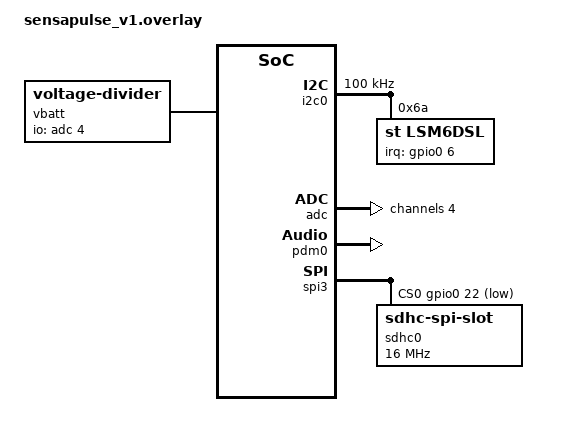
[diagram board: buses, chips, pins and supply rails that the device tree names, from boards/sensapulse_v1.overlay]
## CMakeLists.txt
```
# SPDX-License-Identifier: Apache-2.0
cmake_minimum_required(VERSION 3.20.0)

# Tell Zephyr where to find our custom out-of-tree board
list(APPEND BOARD_ROOT ${CMAKE_CURRENT_LIST_DIR}/..)

find_package(Zephyr REQUIRED HINTS $ENV{ZEPHYR_BASE})
project(sensapulse_fw LANGUAGES C)

target_sources(app PRIVATE
	src/main.c
	src/led.c
	src/battery.c
	src/imu.c
	src/imu_sampler.c
	src/audio.c
	src/sd_log.c
	src/sd_writer.c
	src/session.c
	src/device_id.c
	src/ble_sync.c
)

target_include_directories(app PRIVATE src)

# Embed git short SHA into firmware as FW_BUILD_HASH (used in meta.json).
# Falls back to "unknown" if not in a git checkout.
execute_process(
	COMMAND git rev-parse --short HEAD
	WORKING_DIRECTORY ${CMAKE_CURRENT_LIST_DIR}/..
	OUTPUT_VARIABLE FW_GIT_HASH
	OUTPUT_STRIP_TRAILING_WHITESPACE
	ERROR_QUIET
)
if(NOT FW_GIT_HASH)
	set(FW_GIT_HASH "unknown")
endif()
target_compile_definitions(app PRIVATE FW_BUILD_HASH="${FW_GIT_HASH}")
```

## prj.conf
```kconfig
# SensaPulse v1.0 — application Kconfig
# Phase 6: bring-up + BLE smoke advertise.

CONFIG_GPIO=y
CONFIG_I2C=y
CONFIG_ADC=y
CONFIG_MAIN_STACK_SIZE=4096

# SPI + SD card + filesystem
CONFIG_SPI=y
CONFIG_DISK_DRIVER_SDMMC=y
CONFIG_DISK_DRIVERS=y
CONFIG_FILE_SYSTEM=y
CONFIG_FAT_FILESYSTEM_ELM=y
CONFIG_FS_FATFS_LFN=y
CONFIG_FS_FATFS_LFN_MODE_HEAP=y
CONFIG_FS_FATFS_MAX_LFN=64

# PDM digital MEMS mic stack
CONFIG_AUDIO=y
CONFIG_AUDIO_DMIC=y

# Bluetooth Low Energy (peripheral — Sync Service GATT in #19)
CONFIG_BT=y
CONFIG_BT_PERIPHERAL=y
CONFIG_BT_DEVICE_NAME="SensaPulse v1"
# 833 = Generic Health Sensor appearance
CONFIG_BT_DEVICE_APPEARANCE=833
# Use SoftDevice controller (NCS default for nRF52840)
CONFIG_BT_LL_SOFTDEVICE=y

# #19 high-throughput GATT bulk transfer
CONFIG_BT_CTLR_PHY_2M=y
CONFIG_BT_USER_PHY_UPDATE=y
CONFIG_BT_USER_DATA_LEN_UPDATE=y
CONFIG_BT_BUF_ACL_RX_SIZE=251
CONFIG_BT_BUF_ACL_TX_SIZE=251
CONFIG_BT_L2CAP_TX_MTU=247
# #34 diagnostic: macOS Core Bluetooth may not parse BT 5.2 multi-notify PDUs;
# disable so Zephyr falls back to single-notify per bt_gatt_notify call.
CONFIG_BT_GATT_NOTIFY_MULTIPLE=n
# #19.5 TX buffer count — defaults ~3 không đủ cho streaming, gây
# "bt_att: Unable to allocate buffer for op 0x1b" suốt READ. Bump để
# read_chunk_cb retry không phải chờ lâu.
CONFIG_BT_BUF_ACL_TX_COUNT=32
CONFIG_BT_L2CAP_TX_BUF_COUNT=32

# #34 DLE diagnostic kept off in production. Use these to enable HCI DBG
# traces when re-investigating Apple DLE behaviour:
#   CONFIG_BT_HCI_CORE_LOG_LEVEL_DBG=y
#   CONFIG_BT_CONN_LOG_LEVEL_DBG=y

# #34 L2CAP CoC for high-throughput bulk Data transfer.
# macOS Core Bluetooth caps GATT-notify throughput around 14 kB/s (DLE
# refused, ~8 packets per event); CoC has its own credit-based flow and
# is reported to break that ceiling on macOS.
CONFIG_BT_L2CAP_DYNAMIC_CHANNEL=y
# CONFIG_BT_L2CAP_DYNAMIC_CHANNEL depends on BT_SMP. Enable security manager.
CONFIG_BT_SMP=y

# Logging via Segger RTT
CONFIG_LOG=y
CONFIG_LOG_DEFAULT_LEVEL=3
CONFIG_USE_SEGGER_RTT=y
CONFIG_LOG_BACKEND_RTT=y
CONFIG_LOG_BACKEND_UART=n
CONFIG_SEGGER_RTT_BUFFER_SIZE_UP=4096

# Heap for FATFS LFN + DMIC mem slab + BT
CONFIG_HEAP_MEM_POOL_SIZE=16384
```

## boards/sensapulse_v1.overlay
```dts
/*
 * App-level overlay for sensapulse_v1/nrf52840.
 * Auto-applied by Zephyr build for this board target.
 *
 * Adds peripherals as we bring each one up. Add new sections below;
 * don't pollute the board DTS.
 */

/* ---------- Task #4: I2C0 + LSM6DSL IMU ---------- */
&i2c0 {
	compatible = "nordic,nrf-twim";
	status = "okay";
	pinctrl-0 = <&i2c0_default>;
	pinctrl-1 = <&i2c0_sleep>;
	pinctrl-names = "default", "sleep";
	clock-frequency = <I2C_BITRATE_STANDARD>;  /* 100 kHz — safe with internal pull-ups */

	lsm6dsl: lsm6dsl@6a {
		compatible = "st,lsm6dsl";
		reg = <0x6a>;            /* SDO/SA0=GND → 0x6A */
		/* LSM6DSL INT1 default = push-pull active HIGH (CTRL3_C.H_LACTIVE=0). */
		irq-gpios = <&gpio0 6 GPIO_ACTIVE_HIGH>;
	};
};

/* ---------- Task #7: SAADC battery monitor on AIN4 (P0.28) ---------- */
/*
 * VBATT --[100k R12]--+--[100k R15]-- GND  (1:2 divider)
 *                     |
 *                     +--> AIN4 (P0.28)
 * To get VBATT: read AIN4_mV, multiply by 2.
 */
/ {
	vbatt: vbatt {
		compatible = "voltage-divider";
		io-channels = <&adc 4>;
		output-ohms = <100000>;
		full-ohms  = <200000>;
	};
};

&adc {
	status = "okay";
	#address-cells = <1>;
	#size-cells    = <0>;

	channel@4 {
		reg = <4>;
		zephyr,gain              = "ADC_GAIN_1_6";
		zephyr,reference         = "ADC_REF_INTERNAL";   /* 0.6 V */
		zephyr,acquisition-time  = <ADC_ACQ_TIME(ADC_ACQ_TIME_MICROSECONDS, 40)>;
		zephyr,input-positive    = <NRF_SAADC_AIN4>;     /* AIN4 = P0.28 */
		zephyr,resolution        = <12>;
	};
};

/* ---------- Task #6: PDM stereo (body=L falling, ambient=R rising) ---------- */
&pdm0 {
	status = "okay";
	pinctrl-0 = <&pdm0_default>;
	pinctrl-names = "default";
	clock-source = "PCLK32M_HFXO";  /* HFXO-derived for low-jitter audio */
};

/* ---------- Task #5: SPI3 + micro-SD via SDHC SPI slot ---------- */
&spi3 {
	compatible = "nordic,nrf-spim";
	status = "okay";
	pinctrl-0 = <&spi3_default>;
	pinctrl-1 = <&spi3_sleep>;
	pinctrl-names = "default", "sleep";
	cs-gpios = <&gpio0 22 GPIO_ACTIVE_LOW>;

	sdhc0: sdhc@0 {
		compatible = "zephyr,sdhc-spi-slot";
		reg = <0>;
		status = "okay";
		/* nRF52840 SPIM3 supports only the discrete clocks 8/16/32 MHz
		 * (HFCLK 32 MHz, integer dividers). Zephyr's nrfx_spim driver
		 * rounds DOWN any requested frequency that isn't an exact match
		 * (see `get_nrf_spim_frequency` in spi_nrfx_spim.c). Request 24M
		 * → actual SPI clock is **16 MHz**, not 24 MHz. The FATFS log
		 * line "Maximum SD clock is under 25MHz, using clock of
		 * 24000000Hz" reports the SD layer's ceiling, not the wire rate.
		 *
		 * Setting the request to 16 MHz here so the configuration value
		 * matches the actual bus speed and nobody mis-reads it later.
		 *
		 * History: occasional `sdhc_spi: Bad data CRC` events show up at
		 * this speed (a few per minute on the bench) — SD-layer retry
		 * absorbs them. Tried 8 MHz earlier (pre-#25) and audio broke
		 * because direct per-block fs_write stalled FATFS past the PDM
		 * mem-slab window. After #25 batched sd_writer, 8 MHz is safe
		 * too — keep 16 MHz unless we get fresh evidence the module
		 * (Ebyte E73-2G4M08S1C) needs a slower bus.
		 */
		spi-max-frequency = <16000000>;

		mmc {
			compatible = "zephyr,sdmmc-disk";
			status = "okay";
			/* Note: disk name is hardcoded to "SD" by the
			 * sdmmc-disk driver in Zephyr 3.7 / NCS v2.9 —
			 * no `disk-name` property accepted.
			 */
		};
	};
};
```

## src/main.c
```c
/*
 * SensaPulse v1.0 firmware — main entry.
 *
 * Task #14: real application FSM.
 *
 *   APP_STATE_IDLE              — waiting for double-tap. LED idle blink.
 *   APP_STATE_RECORDING         — session running. LED solid.
 *                                 Battery polled every 30 s; <3300 mV →
 *                                 stop session, LOW_BATT_HOLDOFF.
 *                                 Watchdog abort → ERROR.
 *   APP_STATE_LOW_BATT_HOLDOFF  — taps ignored, LED 5 Hz. Recovers to
 *                                 IDLE when battery climbs back ≥3500 mV
 *                                 (200 mV hysteresis).
 *   APP_STATE_ERROR             — LED SOS Morse. SD full or watchdog
 *                                 abort. Permanent until reboot.
 */

#include <zephyr/kernel.h>
#include <zephyr/logging/log.h>
#include <zephyr/bluetooth/bluetooth.h>
#include <zephyr/bluetooth/conn.h>
#include <zephyr/bluetooth/gap.h>

#include "led.h"
#include "battery.h"
#include "device_id.h"
#include "imu.h"
#include "imu_sampler.h"
#include "audio.h"
#include "sd_log.h"
#include "sd_writer.h"
#include "session.h"
#include "ble_sync.h"

LOG_MODULE_REGISTER(main, LOG_LEVEL_INF);

#define SMOKE_WAV_PATH    SD_MOUNT_POINT "/PDM_TEST.WAV"
#define SMOKE_RECORD_S    3

#define BATT_LOW_MV       3300   /* spec: stop recording below this */
#define BATT_RECOVERY_MV  3500   /* hysteresis to leave LOW_BATT_HOLDOFF */
#define MAIN_TICK_MS      500
#define BATT_POLL_TICKS   (30 * 1000 / MAIN_TICK_MS)   /* 60 ticks = 30 s */

/* ---------- App FSM ---------- */
typedef enum {
	APP_STATE_IDLE,
	APP_STATE_RECORDING,
	APP_STATE_LOW_BATT_HOLDOFF,
	APP_STATE_SYNC,                  /* #20: BLE-connected, draining data */
	APP_STATE_ERROR,
} app_state_t;

static app_state_t app_state = APP_STATE_IDLE;

/* v1.1.2: explicit ownership for the current recording session. Drives the
 * "start by X → stop by X" symmetry: a tap-started session can only be
 * stopped by tap; a BLE-started session can only be stopped by BLE STOP
 * opcode. Replaces the bool `recording_via_ble` (v1.1.1). Reset to NONE
 * any time the FSM leaves RECORDING. */
typedef enum {
	REC_OWNER_NONE,
	REC_OWNER_TAP,
	REC_OWNER_BLE,
} rec_owner_t;
static rec_owner_t rec_owner = REC_OWNER_NONE;

static const char *rec_owner_name(rec_owner_t o)
{
	switch (o) {
	case REC_OWNER_NONE: return "none";
	case REC_OWNER_TAP:  return "tap";
	case REC_OWNER_BLE:  return "ble";
	}
	return "?";
}

/* Exposed to ble_sync.c for opcode dispatch (BUSY-if-recording check). */
bool app_is_recording(void)
{
	return app_state == APP_STATE_RECORDING;
}

/* #20: state lúc trước khi vào SYNC — restore khi BLE disconnect. Cho phép
 * `ERROR → SYNC → ERROR` (user vớt data từ thẻ SD đầy mà không clear lỗi). */
static app_state_t pre_sync_state = APP_STATE_IDLE;
static unsigned    batt_tick = 0;

static const led_state_t state_to_led[] = {
	[APP_STATE_IDLE]              = LED_STATE_IDLE,
	[APP_STATE_RECORDING]         = LED_STATE_RECORDING,
	[APP_STATE_LOW_BATT_HOLDOFF]  = LED_STATE_LOW_BATT,
	[APP_STATE_SYNC]              = LED_STATE_SYNC,
	[APP_STATE_ERROR]             = LED_STATE_ERROR,
};

static const char *state_name(app_state_t s)
{
	switch (s) {
	case APP_STATE_IDLE:             return "IDLE";
	case APP_STATE_RECORDING:        return "RECORDING";
	case APP_STATE_LOW_BATT_HOLDOFF: return "LOW_BATT_HOLDOFF";
	case APP_STATE_SYNC:             return "SYNC";
	case APP_STATE_ERROR:            return "ERROR";
	}
	return "?";
}

/* #19.2: lower-case state name cho Device Info JSON (theo SYNC_PROTOCOL.md). */
const char *app_state_lc(void)
{
	switch (app_state) {
	case APP_STATE_IDLE:             return "idle";
	case APP_STATE_RECORDING:        return "recording";
	case APP_STATE_LOW_BATT_HOLDOFF: return "low_batt";
	case APP_STATE_SYNC:             return "sync";
	case APP_STATE_ERROR:            return "error";
	}
	return "unknown";
}

/* Forward declarations for BLE radio control. */
static void ble_adv_start(void);
static void ble_adv_stop(void);

static void transition(app_state_t new_state)
{
	if (new_state == app_state) return;
	LOG_INF("FSM: %s → %s", state_name(app_state), state_name(new_state));

	/* v1.1.2: BLE advertising runs continuously, independent of FSM.
	 * Started once in start_ble(); restarted in on_disconnected().
	 * RECORDING no longer tears down the advertiser — PC must be able
	 * to briefly connect during RECORDING to send OP_STOP_RECORD (owner
	 * BLE) or get BUSY (owner TAP). Persistent connection during
	 * RECORDING is still forbidden — enforced via opcode self-disconnect
	 * in ble_sync.c. */
	app_state = new_state;
	led_set_state(state_to_led[new_state]);
	batt_tick = 0;
}

/* ---------- BLE advertise + connect/disconnect FSM hook (#20) ---------- */
static const struct bt_data adv_data[] = {
	BT_DATA_BYTES(BT_DATA_FLAGS, (BT_LE_AD_GENERAL | BT_LE_AD_NO_BREDR)),
	BT_DATA(BT_DATA_NAME_COMPLETE, CONFIG_BT_DEVICE_NAME,
		sizeof(CONFIG_BT_DEVICE_NAME) - 1),
};
static bool ble_advertising;

static void ble_adv_start(void)
{
	if (ble_advertising) return;
	int err = bt_le_adv_start(BT_LE_ADV_CONN, adv_data, ARRAY_SIZE(adv_data),
				  NULL, 0);
	if (err) {
		LOG_ERR("bt_le_adv_start: %d", err);
		return;
	}
	ble_advertising = true;
	LOG_INF("BLE: advertising as '%s'", CONFIG_BT_DEVICE_NAME);
}

static void ble_adv_stop(void)
{
	if (!ble_advertising) return;
	int err = bt_le_adv_stop();
	if (err) LOG_WRN("bt_le_adv_stop: %d", err);
	ble_advertising = false;
	LOG_INF("BLE: advertising stopped");
}

static void on_connected(struct bt_conn *conn, uint8_t err)
{
	if (err) {
		LOG_ERR("BLE connect failed: 0x%02x", err);
		return;
	}
	LOG_INF("BLE connected (current FSM=%s)", state_name(app_state));

	/* Connectable advertising auto-stops at the BLE controller side when a
	 * connection completes. Reflect that in our local flag. */
	ble_advertising = false;

	/* v1.1.2: gate state-transition by current FSM.
	 * - IDLE / LOW_BATT_HOLDOFF / ERROR → SYNC (allow draining data).
	 * - RECORDING → accept connection, NO FSM transition. Stay in
	 *   RECORDING. The opcode handler in ble_sync.c will reply BUSY
	 *   (owner=TAP) or process OP_STOP_RECORD (owner=BLE) and then
	 *   queue a self-disconnect to release the link quickly.
	 * - SYNC → impossible (controller stops adv automatically while
	 *   already connected; defense in depth).
	 */
	switch (app_state) {
	case APP_STATE_RECORDING:
		LOG_INF("BLE: accept brief connect during RECORDING (owner=%s)",
			rec_owner_name(rec_owner));
		return;
	case APP_STATE_SYNC:
		LOG_WRN("BLE: unexpected connect while already in SYNC");
		bt_conn_disconnect(conn, BT_HCI_ERR_REMOTE_USER_TERM_CONN);
		return;
	case APP_STATE_IDLE:
	case APP_STATE_LOW_BATT_HOLDOFF:
	case APP_STATE_ERROR:
		pre_sync_state = app_state;
		transition(APP_STATE_SYNC);
		return;
	}
}

static void on_disconnected(struct bt_conn *conn, uint8_t reason)
{
	ARG_UNUSED(conn);
	LOG_INF("BLE disconnected (reason 0x%02x, FSM=%s, owner=%s)",
		reason, state_name(app_state), rec_owner_name(rec_owner));

	/* v1.1.2: disconnect mid-RECORDING is NOT an implicit stop. Session
	 * keeps running; the only ways to stop are (a) PC reconnect + send
	 * OP_STOP_RECORD (owner BLE), (b) double-tap (owner TAP), (c) batt
	 * < BATT_LOW_MV auto-stop in main loop, (d) SW1 power cut. This
	 * mirrors the "start-by-X = stop-by-X" symmetry and makes
	 * BLE-driven sessions robust to PC crash / sleep / Wi-Fi drop. */
	if (app_state == APP_STATE_SYNC) {
		transition(pre_sync_state);
	}
	/* Advertising auto-stopped at controller when the connection
	 * completed. Restart it so the next connection is possible
	 * regardless of current FSM state (per v1.1.2 always-adv policy). */
	ble_adv_start();
}

BT_CONN_CB_DEFINE(conn_cb) = {
	.connected = on_connected,
	.disconnected = on_disconnected,
};

static int start_ble(void)
{
	int err = bt_enable(NULL);
	if (err) { LOG_ERR("bt_enable: %d", err); return err; }
	ble_sync_init();
	ble_adv_start();
	return 0;
}

/* ---------- BLE START/STOP RECORD opcode handlers ---------- */
/* v1.1.2: BLE START_RECORD. Valid only when the device was IDLE before
 * the PC connected (pre_sync_state==IDLE, current==SYNC). On success
 * sets rec_owner=BLE and transitions SYNC→RECORDING. Ble_sync.c will
 * issue a self-disconnect right after this returns so the link is not
 * held during the recording — radio stays in advertising-only mode.
 * Returns 0 OK, -EBUSY wrong state, -ENOSPC SD full, -EAGAIN low batt. */
int app_request_start_record_via_ble(void)
{
	if (app_state != APP_STATE_SYNC || pre_sync_state != APP_STATE_IDLE) {
		LOG_WRN("START_RECORD refused — state=%s pre=%s",
			state_name(app_state), state_name(pre_sync_state));
		return -EBUSY;
	}
	int batt_mv = battery_read_mv();
	if (batt_mv >= 0 && batt_mv < BATT_LOW_MV) {
		LOG_WRN("START_RECORD refused — batt %d mV < %d",
			batt_mv, BATT_LOW_MV);
		return -EAGAIN;
	}
	LOG_INF(">>> BLE START_RECORD — starting session");
	int ret = session_start(batt_mv);
	if (ret == SESSION_ERR_NO_SPACE) {
		LOG_ERR("session_start: SD full → ERROR");
		transition(APP_STATE_ERROR);
		return -ENOSPC;
	}
	if (ret) {
		LOG_ERR("session_start: %d (staying in SYNC)", ret);
		return ret;
	}
	rec_owner = REC_OWNER_BLE;
	transition(APP_STATE_RECORDING);
	return 0;
}

/* v1.1.2: BLE STOP_RECORD. Valid only when currently RECORDING with
 * owner==BLE. On success stops the session, clears owner, transitions
 * RECORDING→IDLE. Ble_sync.c will self-disconnect after this returns.
 * Rejects tap-owned sessions (wearer must stop those by double-tap).
 * Returns 0 OK, -EBUSY otherwise. */
int app_request_stop_record_via_ble(void)
{
	if (app_state != APP_STATE_RECORDING || rec_owner != REC_OWNER_BLE) {
		LOG_WRN("STOP_RECORD refused — state=%s owner=%s",
			state_name(app_state), rec_owner_name(rec_owner));
		return -EBUSY;
	}
	LOG_INF(">>> BLE STOP_RECORD — stopping session");
	session_stop();
	rec_owner = REC_OWNER_NONE;
	transition(APP_STATE_IDLE);
	return 0;
}

/* ---------- Double-tap callback (system work-queue context) ---------- */
static void on_double_tap(void)
{
	switch (app_state) {
	case APP_STATE_LOW_BATT_HOLDOFF:
	case APP_STATE_ERROR:
	case APP_STATE_SYNC:        /* SYNC ↔ RECORDING cấm; PC đang dùng link */
		LOG_INF("tap ignored in %s", state_name(app_state));
		return;

	case APP_STATE_RECORDING:
		/* v1.1.2: start-method = stop-method. BLE-owned record can
		 * only be stopped by OP_STOP_RECORD; tap-owned by tap. */
		if (rec_owner == REC_OWNER_BLE) {
			LOG_INF("tap ignored — BLE-controlled session, "
				"use OP_STOP_RECORD");
			return;
		}
		LOG_INF(">>> DOUBLE TAP — stopping session");
		session_stop();
		rec_owner = REC_OWNER_NONE;
		transition(APP_STATE_IDLE);
		return;

	case APP_STATE_IDLE: {
		int batt_mv = battery_read_mv();
		if (batt_mv >= 0 && batt_mv < BATT_LOW_MV) {
			LOG_WRN("tap: batt %d mV < %d, refusing → LOW_BATT_HOLDOFF",
				batt_mv, BATT_LOW_MV);
			transition(APP_STATE_LOW_BATT_HOLDOFF);
			return;
		}
		LOG_INF(">>> DOUBLE TAP — starting session");
		int ret = session_start(batt_mv);
		if (ret == SESSION_ERR_NO_SPACE) {
			LOG_ERR("session_start: SD full → ERROR");
			transition(APP_STATE_ERROR);
			return;
		}
		if (ret) {
			LOG_ERR("session_start: %d (staying in IDLE)", ret);
			return;
		}
		rec_owner = REC_OWNER_TAP;
		transition(APP_STATE_RECORDING);
		return;
	}
	}
}

/* ---------- main ---------- */
int main(void)
{
	LOG_INF("SensaPulse v1.0 — task #14 main FSM");
	LOG_INF("Build: %s %s", __DATE__, __TIME__);

	/* #31: settle delay before probing peripherals. The LDO + LSM6DSL +
	 * micro-SD all need ~25-50 ms after VDD ramp; without this margin the
	 * IMU sporadically reports WHO_AM_I=0xFF on cold boot (the bus reads
	 * before the chip finishes its POR sequence). Equivalent in spirit
	 * to the 100 ms settle that sdlog_init already does for SD (#26). */
	k_msleep(100);

	if (led_init() == 0)     LOG_INF("LED ready");

	int boot_batt_mv = -1;
	if (battery_init() == 0) {
		boot_batt_mv = battery_read_mv();
		if (boot_batt_mv >= 0) {
			LOG_INF("Battery: %d mV (%s)",
				boot_batt_mv, battery_state_str(boot_batt_mv));
		}
	}

	if (imu_init() != 0) {
		LOG_ERR("IMU init failed");
	}

	if (audio_init() == 0 && sdlog_init() == 0) {
		sdlog_append_boot_stamp();
		identity_init();
		int32_t pl, pr, ml, mr;
		if (audio_record_to_wav(SMOKE_WAV_PATH, SMOKE_RECORD_S,
					&pl, &pr, &ml, &mr) == 0) {
			LOG_INF("smoke ch0 (body, L)    peak=%d  mean=%d", pl, ml);
			LOG_INF("smoke ch1 (ambient, R) peak=%d  mean=%d", pr, mr);
		}
		/* #19.3: bring up the writer thread now so BLE handlers can
		 * route FATFS ops through it (Set Name, future LIST/READ/ACK/
		 * DEL/etc.). Thread stays alive cho đến shutdown.
		 */
		sd_writer_init();
		session_init();
	}

	/* Register the tap callback only after the SD subsystem and session
	 * counter are up — avoids a tap during boot calling session_start
	 * with the FATFS volume not yet mounted.
	 */
	imu_enable_double_tap(on_double_tap);

	start_ble();

	/* Pick initial state from battery reading. If we're already below the
	 * threshold at boot we go straight to LOW_BATT_HOLDOFF so the user
	 * gets an obvious 5 Hz blink instead of normal idle.
	 */
	if (boot_batt_mv >= 0 && boot_batt_mv < BATT_LOW_MV) {
		LOG_WRN("boot batt %d mV < %d → LOW_BATT_HOLDOFF",
			boot_batt_mv, BATT_LOW_MV);
		transition(APP_STATE_LOW_BATT_HOLDOFF);
	} else {
		led_set_state(LED_STATE_IDLE);
		LOG_INF("Idle. Double-tap to start/stop recording.");
	}

	while (1) {
		switch (app_state) {
		case APP_STATE_IDLE:
			/* Tap callback drives IDLE → RECORDING. Nothing to poll. */
			break;

		case APP_STATE_RECORDING:
			if (!session_is_active()) {
				if (session_was_aborted()) {
					LOG_ERR("FSM: session aborted by watchdog → ERROR");
					rec_owner = REC_OWNER_NONE;
					transition(APP_STATE_ERROR);
				} else {
					LOG_INF("Stopped: audio_last=%u B, imu_last=%u samples",
						sd_writer_audio_bytes_written(),
						sd_writer_imu_samples_written());
					rec_owner = REC_OWNER_NONE;
					transition(APP_STATE_IDLE);
				}
				break;
			}
			if (++batt_tick >= BATT_POLL_TICKS) {
				batt_tick = 0;
				int mv = battery_read_mv();
				if (mv >= 0 && mv < BATT_LOW_MV) {
					LOG_WRN("FSM: batt %d mV during RECORDING → "
						"stop session, LOW_BATT_HOLDOFF "
						"(was owner=%s)", mv,
						rec_owner_name(rec_owner));
					session_stop();
					rec_owner = REC_OWNER_NONE;
					transition(APP_STATE_LOW_BATT_HOLDOFF);
				}
			}
			break;

		case APP_STATE_LOW_BATT_HOLDOFF:
			if (++batt_tick >= BATT_POLL_TICKS) {
				batt_tick = 0;
				int mv = battery_read_mv();
				if (mv >= 0 && mv >= BATT_RECOVERY_MV) {
					LOG_INF("FSM: batt recovered %d mV → IDLE", mv);
					transition(APP_STATE_IDLE);
				}
			}
			break;

		case APP_STATE_SYNC:
			/* #20: passive — wait for BLE disconnect callback to
			 * restore pre_sync_state. No polling needed. */
			break;

		case APP_STATE_ERROR:
			/* Permanent until reboot. LED already SOS. */
			break;
		}
		k_msleep(MAIN_TICK_MS);
	}
	return 0;
}
```

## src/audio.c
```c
#include <zephyr/kernel.h>
#include <zephyr/audio/dmic.h>
#include <zephyr/fs/fs.h>
#include <zephyr/logging/log.h>
#include <string.h>

#include "audio.h"
#include "sd_writer.h"

LOG_MODULE_REGISTER(audio, LOG_LEVEL_INF);

#define PDM_NODE          DT_NODELABEL(pdm0)
#define PDM_BLOCK_MS      100
#define PDM_BLOCK_SAMPLES (AUDIO_PDM_RATE_HZ * PDM_BLOCK_MS / 1000)
#define PDM_BLOCK_BYTES   (PDM_BLOCK_SAMPLES * AUDIO_PDM_CHANNELS * sizeof(int16_t))
/* 16 blocks × 100 ms = ~1.6 s slack (#25). The slab pointer is the
 * audio FIFO entry handed to sd_writer; depth here directly sets the
 * audio queue depth visible to the consumer.
 */
#define PDM_BLOCK_COUNT   16

K_MEM_SLAB_DEFINE_STATIC(pdm_slab, PDM_BLOCK_BYTES, PDM_BLOCK_COUNT, 4);

static const struct device *const dmic_dev = DEVICE_DT_GET(PDM_NODE);

/* ---------- DMIC configure helper ---------- */
static int configure_dmic(void)
{
	struct pcm_stream_cfg stream = {
		.pcm_width = AUDIO_PDM_BIT_WIDTH,
		.mem_slab  = &pdm_slab,
	};
	struct dmic_cfg cfg = {
		.io = {
			.min_pdm_clk_freq = 1000000,
			.max_pdm_clk_freq = 3500000,
			.min_pdm_clk_dc   = 40,
			.max_pdm_clk_dc   = 60,
		},
		.streams = &stream,
		.channel = {
			.req_num_streams = 1,
			.req_num_chan    = AUDIO_PDM_CHANNELS,
			/* Channel mapping — body MUST land on ch0, ambient on ch1.
			 *
			 * The "natural" map below (ch0=LEFT, ch1=RIGHT) is the driver's
			 * def_map → NRF_PDM_EDGE_LEFTFALLING. Bench tap-test 2026-06-08
			 * proved that under LEFTFALLING the physical mics come out
			 * SWAPPED: tapping the body mic clipped ch1, tapping the ambient
			 * mic clipped ch0. Every v2 notebook assumed ch0=body and was
			 * therefore analysing the wrong channel.
			 *
			 * Fix: use the driver's alt_map (ch0=RIGHT, ch1=LEFT) →
			 * NRF_PDM_EDGE_LEFTRISING, which the driver documents as the
			 * L/R-swap. Re-verify with the tap test after any PDM change.
			 * NOTE: recordings made BEFORE this commit have swapped channels
			 * (ch0=ambient, ch1=body) — relabel them in analysis.
			 */
			.req_chan_map_lo =
				dmic_build_channel_map(0, 0, PDM_CHAN_RIGHT) |
				dmic_build_channel_map(1, 0, PDM_CHAN_LEFT),
		},
	};
	cfg.streams[0].pcm_rate   = AUDIO_PDM_RATE_HZ;
	cfg.streams[0].block_size = PDM_BLOCK_BYTES;
	return dmic_configure(dmic_dev, &cfg);
}

int audio_init(void)
{
	if (!device_is_ready(dmic_dev)) {
		LOG_ERR("PDM device not ready");
		return -ENODEV;
	}
	return 0;
}

/* ---------- One-shot capture (boot smoke test) ---------- */
static int write_wav_header_local(struct fs_file_t *f, uint32_t data_bytes)
{
	uint8_t hdr[44];
	uint32_t sr  = AUDIO_PDM_RATE_HZ;
	uint16_t ch  = AUDIO_PDM_CHANNELS;
	uint16_t bps = AUDIO_PDM_BIT_WIDTH;
	uint32_t br  = sr * ch * (uint32_t)bps / 8;
	uint16_t ba  = ch * bps / 8;
	uint32_t fsize = data_bytes + 36;
	uint32_t fmt_size = 16;
	uint16_t fmt = 1;

	memcpy(&hdr[0],  "RIFF",      4);
	memcpy(&hdr[4],  &fsize,      4);
	memcpy(&hdr[8],  "WAVE",      4);
	memcpy(&hdr[12], "fmt ",      4);
	memcpy(&hdr[16], &fmt_size,   4);
	memcpy(&hdr[20], &fmt,        2);
	memcpy(&hdr[22], &ch,         2);
	memcpy(&hdr[24], &sr,         4);
	memcpy(&hdr[28], &br,         4);
	memcpy(&hdr[32], &ba,         2);
	memcpy(&hdr[34], &bps,        2);
	memcpy(&hdr[36], "data",      4);
	memcpy(&hdr[40], &data_bytes, 4);

	fs_seek(f, 0, FS_SEEK_SET);
	return fs_write(f, hdr, sizeof(hdr));
}

int audio_record_to_wav(const char *path, int seconds,
			int32_t *peak_l, int32_t *peak_r,
			int32_t *mean_l, int32_t *mean_r)
{
	int ret = configure_dmic();
	if (ret < 0) {
		LOG_ERR("dmic_configure failed: %d", ret);
		return ret;
	}

	struct fs_file_t f;
	fs_file_t_init(&f);
	ret = fs_open(&f, path, FS_O_CREATE | FS_O_WRITE);
	if (ret) {
		LOG_ERR("open %s: %d", path, ret);
		return ret;
	}

	uint8_t pad[44] = {0};
	fs_write(&f, pad, sizeof(pad));

	LOG_INF("PDM start: %d s stereo @ %d kHz → %s",
		seconds, AUDIO_PDM_RATE_HZ / 1000, path);
	ret = dmic_trigger(dmic_dev, DMIC_TRIGGER_START);
	if (ret < 0) {
		LOG_ERR("dmic_trigger START failed: %d", ret);
		fs_close(&f);
		return ret;
	}

	const int blocks = seconds * 1000 / PDM_BLOCK_MS;
	uint32_t total_bytes = 0;
	int32_t pl = 0, pr = 0;
	int64_t sl = 0, sr = 0;
	uint32_t n_pairs = 0;

	for (int i = 0; i < blocks; i++) {
		void *buf;
		uint32_t size;

		ret = dmic_read(dmic_dev, 0, &buf, &size, 500);
		if (ret < 0) {
			LOG_ERR("dmic_read[%d] failed: %d", i, ret);
			break;
		}

		int16_t *s = (int16_t *)buf;
		uint32_t n = size / sizeof(int16_t);
		for (uint32_t k = 0; k < n; k += 2) {
			int16_t l = s[k];
			int16_t r = s[k + 1];
			int32_t al = l < 0 ? -l : l;
			int32_t ar = r < 0 ? -r : r;
			if (al > pl) pl = al;
			if (ar > pr) pr = ar;
			sl += l;
			sr += r;
		}
		n_pairs += n / 2;

		fs_write(&f, buf, size);
		total_bytes += size;
		k_mem_slab_free(&pdm_slab, buf);
	}

	dmic_trigger(dmic_dev, DMIC_TRIGGER_STOP);
	write_wav_header_local(&f, total_bytes);
	fs_close(&f);

	if (peak_l) *peak_l = pl;
	if (peak_r) *peak_r = pr;
	if (mean_l) *mean_l = n_pairs ? (int32_t)(sl / (int64_t)n_pairs) : 0;
	if (mean_r) *mean_r = n_pairs ? (int32_t)(sr / (int64_t)n_pairs) : 0;

	LOG_INF("PDM stop: %u B written, %u sample pairs", total_bytes, n_pairs);
	return 0;
}

/* ---------- Streaming producer (#25) ---------- */
#define PRODUCER_STACK_SZ  3072
#define PRODUCER_PRIO      K_PRIO_PREEMPT(5)

static K_THREAD_STACK_DEFINE(prod_stack, PRODUCER_STACK_SZ);
static struct k_thread prod_thread;
static atomic_t        prod_running = ATOMIC_INIT(0);
static atomic_t        prod_stop_req = ATOMIC_INIT(0);

static void producer_thread_fn(void *p1, void *p2, void *p3)
{
	ARG_UNUSED(p1); ARG_UNUSED(p2); ARG_UNUSED(p3);
	int ret;

	ret = configure_dmic();
	if (ret < 0) {
		LOG_ERR("audio producer: dmic_configure: %d", ret);
		atomic_clear(&prod_running);
		return;
	}
	ret = dmic_trigger(dmic_dev, DMIC_TRIGGER_START);
	if (ret < 0) {
		LOG_ERR("audio producer: dmic_trigger START: %d", ret);
		atomic_clear(&prod_running);
		return;
	}

	LOG_INF("audio producer: streaming PDM stereo @ %d Hz",
		AUDIO_PDM_RATE_HZ);

	uint32_t blocks = 0;
	while (!atomic_get(&prod_stop_req)) {
		void *buf;
		uint32_t size;
		ret = dmic_read(dmic_dev, 0, &buf, &size, 500);
		if (ret < 0) {
			LOG_ERR("audio producer: dmic_read failed at "
				"%u blocks: %d", blocks, ret);
			break;
		}

		/* Push slab pointer into sd_writer's queue. If full → drop:
		 * caller must free the slab itself.
		 */
		if (sd_writer_push_audio(buf) < 0) {
			k_mem_slab_free(&pdm_slab, buf);
		}
		blocks++;
	}

	dmic_trigger(dmic_dev, DMIC_TRIGGER_STOP);
	LOG_INF("audio producer: stopped after %u blocks", blocks);
	atomic_clear(&prod_running);
}

int audio_producer_start(void)
{
	if (atomic_get(&prod_running)) return -EALREADY;
	atomic_clear(&prod_stop_req);
	atomic_set(&prod_running, 1);

	k_tid_t tid = k_thread_create(&prod_thread, prod_stack,
				      K_THREAD_STACK_SIZEOF(prod_stack),
				      producer_thread_fn, NULL, NULL, NULL,
				      PRODUCER_PRIO, 0, K_NO_WAIT);
	k_thread_name_set(tid, "audio_prod");
	return 0;
}

int audio_producer_stop(void)
{
	if (!atomic_get(&prod_running)) return -ENOENT;
	atomic_set(&prod_stop_req, 1);
	return 0;
}

bool audio_producer_is_running(void)
{
	return atomic_get(&prod_running) != 0;
}

void audio_producer_release_slab(void *slab_buf)
{
	if (slab_buf) k_mem_slab_free(&pdm_slab, slab_buf);
}
```

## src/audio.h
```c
/*
 * SensaPulse — PDM stereo audio capture.
 *
 *  Channel mapping (per schematic + mic L/R config):
 *    ch0 = LEFT  = body mic    (MP23DB01HP, L/R=GND, falling edge)
 *    ch1 = RIGHT = ambient mic (IMP34DT05,  L/R=VDD, rising edge)
 *
 *  After #25 refactor: this module is a *producer*. It reads PDM blocks
 *  from the DMIC API and pushes the slab pointers into sd_writer's
 *  audio FIFO. It no longer touches FATFS directly. The actual
 *  audio.wav file is opened, written, finalized, and closed by
 *  sd_writer (single SD-writing thread).
 */
#pragma once

#include <stdint.h>
#include <stdbool.h>

#define AUDIO_PDM_RATE_HZ   16000
#define AUDIO_PDM_CHANNELS  2
#define AUDIO_PDM_BIT_WIDTH 16

int audio_init(void);

/* ---------- One-shot capture (boot smoke test, blocking) ---------- */
int audio_record_to_wav(const char *path, int seconds,
			int32_t *peak_l, int32_t *peak_r,
			int32_t *mean_l, int32_t *mean_r);

/* ---------- Streaming producer (#25) ----------
 *
 *   audio_producer_start()    → configure DMIC, trigger START, spawn the
 *                                producer thread. Returns 0 on success.
 *
 *   audio_producer_stop()     → request producer thread exit; the thread
 *                                sets DMIC STOP and exits its loop. Use
 *                                audio_producer_is_running() to wait.
 *
 *   audio_producer_release_slab(buf) → called by sd_writer after it has
 *                                consumed a PDM block. Returns the slab
 *                                buffer to the mem-slab so the DMIC
 *                                driver can reuse it. Producers don't
 *                                free; consumer does, after fs_write.
 */
int  audio_producer_start(void);
int  audio_producer_stop(void);
bool audio_producer_is_running(void);
void audio_producer_release_slab(void *slab_buf);
```

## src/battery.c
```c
#include <zephyr/drivers/adc.h>
#include <zephyr/logging/log.h>
#include "battery.h"

LOG_MODULE_REGISTER(battery, LOG_LEVEL_INF);

static const struct adc_dt_spec batt_adc =
	ADC_DT_SPEC_GET_BY_IDX(DT_NODELABEL(vbatt), 0);

int battery_init(void)
{
	if (!adc_is_ready_dt(&batt_adc)) {
		LOG_ERR("ADC not ready");
		return -ENODEV;
	}
	int ret = adc_channel_setup_dt(&batt_adc);
	if (ret < 0) {
		LOG_ERR("adc_channel_setup_dt failed: %d", ret);
	}
	return ret;
}

int battery_read_mv(void)
{
	int16_t raw = 0;
	struct adc_sequence seq = {
		.buffer = &raw,
		.buffer_size = sizeof(raw),
	};
	int ret = adc_sequence_init_dt(&batt_adc, &seq);
	if (ret < 0) return ret;

	ret = adc_read(batt_adc.dev, &seq);
	if (ret < 0) return ret;

	int32_t mv = raw;
	ret = adc_raw_to_millivolts_dt(&batt_adc, &mv);
	if (ret < 0) return ret;

	/* Voltage divider 100k/100k → ×2. */
	return (int)(mv * 2);
}

const char *battery_state_str(int mv)
{
	if (mv >= 4100) return "full";
	if (mv >= 3700) return "ok";
	if (mv >= 3500) return "low";
	if (mv >= 3300) return "warn";
	return "critical";
}
```

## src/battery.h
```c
/*
 * SensaPulse — Li-ion battery monitor.
 *
 * AIN4 (P0.28) reads VBATT divided 1:2 by R12/R15 (100K/100K).
 * Returned voltage is whole-battery mV (already scaled ×2).
 */
#pragma once

int         battery_init(void);
int         battery_read_mv(void);
const char *battery_state_str(int mv);
```

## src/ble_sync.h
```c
/*
 * SensaPulse — BLE Sync Service (task #19).
 *
 * Custom GATT service cho PC sync. Spec đầy đủ trong
 * `docs/SYNC_PROTOCOL.md`. Service UUID base
 * `7e7e0001-3c4f-4b8e-8a8a-5e5e5e5e5e5e`, 4 characteristic:
 *   0002 Device Info   — Read (JSON)
 *   0003 Control       — Write + Notify (opcode framing)
 *   0004 Data          — Notify only (bulk file stream)
 *   0005 Set Name      — Write (UTF-8 ≤32 byte)
 *
 * Module này CHỈ chịu trách nhiệm GATT layer. FSM transitions (IDLE ↔
 * SYNC) đã xử lý ở main.c qua `on_connected` / `on_disconnected` callbacks
 * của #20. File I/O cho LIST/READ/ACK/DEL phải route qua sd_writer thread
 * (giữ invariant single-FATFS-owner của #32).
 */
#pragma once

/* Đăng ký service với BT host. Gọi sau bt_enable() trong start_ble(). */
int ble_sync_init(void);
```

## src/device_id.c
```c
#include <zephyr/kernel.h>
#include <zephyr/fs/fs.h>
#include <zephyr/logging/log.h>
#include <soc.h>
#include <errno.h>
#include <stdio.h>
#include <string.h>

#include "sd_log.h"
#include "device_id.h"

LOG_MODULE_REGISTER(identity, LOG_LEVEL_INF);

#define NAME_FILE_PATH    SD_MOUNT_POINT "/device.name"
#define NAME_MAX_BYTES    32                 /* spec cap on user input */
#define CHIP_HEX_LEN      16                 /* 2 × uint32_t hex chars */
#define NAME_BUF_SZ       (5 + NAME_MAX_BYTES + 1)  /* "chip_" + 32 + NUL is safe upper bound */

static struct {
	char name[NAME_BUF_SZ];
	char chip_id[CHIP_HEX_LEN + 1];
} state;

static void compute_chip_id(void)
{
	/* Match the byte order session.c was using before this module
	 * existed: DEVICEID[1] (high) then DEVICEID[0] (low). Keeping it
	 * stable so existing meta.json files retain a consistent chip_id
	 * across firmware rebuilds.
	 */
	snprintf(state.chip_id, sizeof(state.chip_id), "%08x%08x",
		 (unsigned)NRF_FICR->DEVICEID[1],
		 (unsigned)NRF_FICR->DEVICEID[0]);
}

/* Read /SD/device.name into `out`. Returns 0 on success with a non-empty
 * trimmed string, or a negative error if the file is missing / empty /
 * whitespace-only.
 */
static int read_device_name_file(char *out, size_t out_size)
{
	struct fs_file_t f;
	fs_file_t_init(&f);
	int ret = fs_open(&f, NAME_FILE_PATH, FS_O_READ);
	if (ret) return ret;  /* typically -ENOENT if absent */

	char buf[NAME_MAX_BYTES + 1] = {0};
	int n = fs_read(&f, buf, NAME_MAX_BYTES);
	fs_close(&f);
	if (n <= 0) return -EIO;

	/* Trim trailing CR / LF / SP / TAB. */
	while (n > 0 && (buf[n - 1] == '\n' || buf[n - 1] == '\r' ||
			 buf[n - 1] == ' '  || buf[n - 1] == '\t')) {
		buf[--n] = '\0';
	}
	/* Skip leading whitespace. */
	const char *p = buf;
	while (*p == ' ' || *p == '\t') p++;
	if (*p == '\0') return -EINVAL;  /* whitespace-only */

	strncpy(out, p, out_size - 1);
	out[out_size - 1] = '\0';
	return 0;
}

int identity_init(void)
{
	compute_chip_id();

	char user_name[NAME_MAX_BYTES + 1];
	if (read_device_name_file(user_name, sizeof(user_name)) == 0) {
		strncpy(state.name, user_name, sizeof(state.name) - 1);
		state.name[sizeof(state.name) - 1] = '\0';
		LOG_INF("device.name='%s' chip_id=%s", state.name, state.chip_id);
	} else {
		snprintf(state.name, sizeof(state.name), "chip_%s", state.chip_id);
		LOG_INF("device.name absent → fallback '%s'", state.name);
	}
	return 0;
}

const char *identity_get_name(void)    { return state.name; }
const char *identity_get_chip_id(void) { return state.chip_id; }

int identity_reload(void)
{
	char user_name[NAME_MAX_BYTES + 1];
	if (read_device_name_file(user_name, sizeof(user_name)) == 0) {
		strncpy(state.name, user_name, sizeof(state.name) - 1);
		state.name[sizeof(state.name) - 1] = '\0';
		LOG_INF("identity_reload: device.name='%s'", state.name);
	} else {
		snprintf(state.name, sizeof(state.name), "chip_%s", state.chip_id);
		LOG_INF("identity_reload: device.name absent → fallback '%s'",
			state.name);
	}
	return 0;
}
```

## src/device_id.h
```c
/*
 * SensaPulse — device identity (name + chip id).
 *
 * On boot:
 *   1. Compute chip_id = lower-case hex of NRF_FICR->DEVICEID[1..0]
 *      (16 chars, no prefix).
 *   2. Read /SD/device.name (max 32 UTF-8 bytes, trailing CR/LF and
 *      surrounding whitespace stripped). If the file is absent, empty,
 *      or whitespace-only, fall back to name = "chip_<chip_id>".
 *
 * Cached for the lifetime of the program; meta.json (#11) and the
 * BLE Device Info characteristic (#19) read it through the getters.
 *
 * SD volume must already be mounted (sdlog_init) before identity_init.
 */
#pragma once

int         identity_init(void);
const char *identity_get_name(void);
const char *identity_get_chip_id(void);

/* #19.3: re-read /SD/device.name and update cached name. Called by
 * ble_sync.c name_write_cb after Set Name persists the new value, so the
 * change takes effect immediately (next meta.json + BLE Device Info read).
 */
int         identity_reload(void);
```

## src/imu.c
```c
#include <zephyr/kernel.h>
#include <zephyr/drivers/i2c.h>
#include <zephyr/drivers/gpio.h>
#include <zephyr/logging/log.h>
#include "imu.h"

LOG_MODULE_REGISTER(imu, LOG_LEVEL_INF);

#define LSM6DSL_NODE  DT_NODELABEL(lsm6dsl)

/* Register map (subset, see ST DS11990 §9 / AN5040). */
#define LSM6DSL_REG_WHO_AM_I    0x0F
#define LSM6DSL_REG_CTRL1_XL    0x10
#define LSM6DSL_REG_CTRL2_G     0x11
#define LSM6DSL_REG_CTRL3_C     0x12
#define LSM6DSL_REG_OUTX_L_G    0x22  /* gyro X low; +12 covers gyro+accel */
#define LSM6DSL_REG_TAP_CFG     0x58
#define LSM6DSL_REG_TAP_THS_6D  0x59
#define LSM6DSL_REG_INT_DUR2    0x5A
#define LSM6DSL_REG_WAKE_UP_THS 0x5B
#define LSM6DSL_REG_MD1_CFG     0x5E

#define LSM6DSL_WHO_AM_I_VAL    0x6A

/* Sensor stack config (kept in sync with #11 sampler).
 *  CTRL1_XL = 0x60: XL ODR=416 Hz, FS=±2 g.
 *               XL stays at 416 Hz so hardware tap detect still works
 *               (AN5040 wants ≥208 Hz). The 52 Hz CSV sampler just polls
 *               the registers at its own rate — slight aliasing is fine
 *               for activity classification.
 *  CTRL2_G  = 0x30: GYRO ODR=52 Hz, FS=±245 dps.
 *  CTRL3_C  = 0x44: BDU=1 (block-data-update — output regs are frozen
 *               between MSB/LSB read pairs), IF_INC=1 (auto-increment
 *               on multi-byte burst reads).
 */
#define LSM6DSL_CTRL1_XL_VAL    0x60
#define LSM6DSL_CTRL2_G_VAL     0x30
#define LSM6DSL_CTRL3_C_VAL     0x44

static const struct i2c_dt_spec imu_i2c = I2C_DT_SPEC_GET(LSM6DSL_NODE);
static const struct gpio_dt_spec int1 =
	GPIO_DT_SPEC_GET(LSM6DSL_NODE, irq_gpios);

static struct gpio_callback int1_cb;
static struct k_work        tap_work;
static imu_tap_cb_t         user_tap_cb;

static int reg_write(uint8_t reg, uint8_t val)
{
	return i2c_reg_write_byte_dt(&imu_i2c, reg, val);
}

static int reg_read(uint8_t reg, uint8_t *val)
{
	return i2c_reg_read_byte_dt(&imu_i2c, reg, val);
}

uint8_t imu_who_am_i(void)
{
	uint8_t v = 0;
	if (reg_read(LSM6DSL_REG_WHO_AM_I, &v) < 0) {
		return 0xFF;
	}
	return v;
}

int imu_init(void)
{
	if (!device_is_ready(imu_i2c.bus)) {
		LOG_ERR("I2C bus not ready");
		return -ENODEV;
	}
	k_msleep(50);  /* LSM6DSL POR is ~35 ms typical */

	/* #31: on cold boot the I²C read of WHO_AM_I sometimes returns 0xFF
	 * (chip still in POR or LDO ramp not settled). 50 ms alone is on the
	 * edge; retry up to 5× with 50 ms gap so a slow rail or cold LSM6DSL
	 * gets up to ~300 ms total before we declare init failed. */
	uint8_t who = 0xFF;
	for (int attempt = 1; attempt <= 5; attempt++) {
		who = imu_who_am_i();
		if (who == LSM6DSL_WHO_AM_I_VAL) {
			if (attempt > 1) {
				LOG_INF("WHO_AM_I OK on attempt %d (%d ms warm-up)",
					attempt, (attempt - 1) * 50);
			}
			break;
		}
		LOG_WRN("WHO_AM_I=0x%02X (expected 0x%02X) try %d/5",
			who, LSM6DSL_WHO_AM_I_VAL, attempt);
		k_msleep(50);
	}
	if (who != LSM6DSL_WHO_AM_I_VAL) {
		LOG_ERR("IMU not responsive after retries: WHO_AM_I=0x%02X", who);
		return -EIO;
	}

	int ret;
	ret = reg_write(LSM6DSL_REG_CTRL3_C,  LSM6DSL_CTRL3_C_VAL);  if (ret) goto fail;
	ret = reg_write(LSM6DSL_REG_CTRL1_XL, LSM6DSL_CTRL1_XL_VAL); if (ret) goto fail;
	ret = reg_write(LSM6DSL_REG_CTRL2_G,  LSM6DSL_CTRL2_G_VAL);  if (ret) goto fail;

	LOG_INF("LSM6DSL @ 0x%02X: WHO_AM_I=0x%02X, XL=416Hz/±2g, G=52Hz/±245dps",
		imu_i2c.addr, who);
	return 0;

fail:
	LOG_ERR("imu_init: reg config failed: %d", ret);
	return ret;
}

int imu_read_xlg(int16_t accel_xyz[3], int16_t gyro_xyz[3])
{
	/* Burst-read 12 bytes from OUTX_L_G. Chip layout: gx,gy,gz then ax,ay,az
	 * (little-endian int16 each). BDU=1 in CTRL3_C ensures consistent pairs.
	 */
	int16_t raw[6];
	int ret = i2c_burst_read_dt(&imu_i2c, LSM6DSL_REG_OUTX_L_G,
				    (uint8_t *)raw, sizeof(raw));
	if (ret) return ret;

	gyro_xyz[0]  = raw[0];
	gyro_xyz[1]  = raw[1];
	gyro_xyz[2]  = raw[2];
	accel_xyz[0] = raw[3];
	accel_xyz[1] = raw[4];
	accel_xyz[2] = raw[5];
	return 0;
}

/* ---------- Double-tap ---------- */
static void tap_work_handler(struct k_work *w)
{
	if (user_tap_cb) {
		user_tap_cb();
	}
}

static void int1_isr(const struct device *port, struct gpio_callback *cb,
		     uint32_t pins)
{
	ARG_UNUSED(port);
	ARG_UNUSED(cb);
	ARG_UNUSED(pins);
	k_work_submit(&tap_work);
}

int imu_enable_double_tap(imu_tap_cb_t cb)
{
	int ret;

	user_tap_cb = cb;
	k_work_init(&tap_work, tap_work_handler);

	/* CTRL1_XL is already configured at 416 Hz / ±2 g by imu_init().
	 * Tap detection works best at ≥208 Hz; this is also the rate the CSV
	 * sampler polls (at 52 Hz, with implicit downsampling).
	 */

	/* TAP_CFG = 0x8E: latch interrupt; enable Z, Y, X tap recognition.
	 *   bit7 INTERRUPTS_ENABLE
	 *   bit3 SLOPE_FDS=1 (slope filter — useful for tap)
	 *   bit2 TAP_X_EN, bit1 TAP_Y_EN — actually layout is:
	 *   bit7=INTERRUPTS_ENABLE bit6=INACT_EN[1] bit5=INACT_EN[0]
	 *   bit3=SLOPE_FDS bit2=TAP_X_EN bit1=TAP_Y_EN bit0=TAP_Z_EN
	 *   We set: 0x8E = 1000 1110 → INTERRUPTS_ENABLE | SLOPE_FDS |
	 *                              TAP_X_EN | TAP_Y_EN | TAP_Z_EN
	 */
	ret = reg_write(LSM6DSL_REG_TAP_CFG, 0x8E);
	if (ret) goto err;

	/* TAP_THS_6D: 5-bit threshold, 1 LSB = FS/32 = 62.5 mg at ±2 g.
	 *
	 * Task #22 raised to 0x14 (~1.25 g) to reject worn-on-chest motion.
	 * v1.1.2 (2026-05-22): user feedback — 1.25 g requires uncomfortable
	 * strong taps. Drop to 0x10 (~1.0 g) per #22 documented fallback.
	 * Safe to lower now because sleep-wear sessions are BLE-started
	 * (owner=BLE) and tap is ignored during BLE-owned record (main.c
	 * on_double_tap), so accidental motion taps can't false-stop a
	 * sleep recording.
	 *
	 * History: 0x09 (~0.56 g, AN5040 demo) too hot for 24/7 wear.
	 *          0x14 (~1.25 g, #22) too cold for fingertip tap comfort.
	 *          0x10 (~1.0 g, v1.1.2) — middle ground.
	 */
	ret = reg_write(LSM6DSL_REG_TAP_THS_6D, 0x10);
	if (ret) goto err;

	/* INT_DUR2 = 0x4E:
	 *   DUR  (bit7..4)=4 → max gap between 2 taps ≈ 307 ms (was 538 ms)
	 *                      Forces a quick double-tap; two random jolts
	 *                      ≥ 350 ms apart no longer count.
	 *   QUIET(bit3..2)=3 → quiet ~57 ms after a tap (unchanged — filters
	 *                      mechanical ringing on the case after impact)
	 *   SHOCK(bit1..0)=2 → max tap duration ~19 ms (was 28 ms)
	 *                      Slow rubs/swipes filtered as non-tap.
	 *
	 * Packed: (4 << 4) | (3 << 2) | 2 = 0x4E.
	 */
	ret = reg_write(LSM6DSL_REG_INT_DUR2, 0x4E);
	if (ret) goto err;

	/* WAKE_UP_THS bit7 SINGLE_DOUBLE_TAP=1 → enable single+double-tap
	 * (we route only double-tap to INT1 below).
	 */
	ret = reg_write(LSM6DSL_REG_WAKE_UP_THS, 0x80);
	if (ret) goto err;

	/* MD1_CFG bit3 = INT1_DOUBLE_TAP. */
	ret = reg_write(LSM6DSL_REG_MD1_CFG, 0x08);
	if (ret) goto err;

	/* GPIO int line (P0.06, active high). */
	if (!gpio_is_ready_dt(&int1)) {
		LOG_ERR("INT1 GPIO not ready");
		return -ENODEV;
	}
	ret = gpio_pin_configure_dt(&int1, GPIO_INPUT);
	if (ret) goto err;
	ret = gpio_pin_interrupt_configure_dt(&int1, GPIO_INT_EDGE_TO_ACTIVE);
	if (ret) goto err;

	gpio_init_callback(&int1_cb, int1_isr, BIT(int1.pin));
	ret = gpio_add_callback(int1.port, &int1_cb);
	if (ret) goto err;

	LOG_INF("Double-tap detection enabled (INT1 = P0.%d)", int1.pin);
	return 0;

err:
	LOG_ERR("imu_enable_double_tap failed at register write: %d", ret);
	return ret;
}
```

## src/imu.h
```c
/*
 * SensaPulse — LSM6DSL IMU driver (raw I2C; doesn't use Zephyr sensor API
 * because we want explicit control of tap detection registers).
 *
 *  WHO_AM_I = 0x6A   on PCB v1.0 (SDO/SA0 strapped to GND).
 *
 *  Task #9: double-tap detection routed to INT1 pin (P0.06, active high).
 *           Caller registers a callback that fires from a Zephyr work item.
 */
#pragma once

#include <stdint.h>

typedef void (*imu_tap_cb_t)(void);

/* Probe LSM6DSL on I2C and configure XL (416 Hz / ±2 g) + G (52 Hz / ±245 dps)
 * + BDU. Returns 0 on success.
 */
int     imu_init(void);
uint8_t imu_who_am_i(void);

/* Burst-read 6 axes (raw int16 LSB).
 * Output order: accel_xyz[ax,ay,az], gyro_xyz[gx,gy,gz].
 */
int     imu_read_xlg(int16_t accel_xyz[3], int16_t gyro_xyz[3]);

/* Configure double-tap on X/Y/Z and route to INT1.
 * cb is called from system work-queue context (k_work) — don't sleep there.
 */
int     imu_enable_double_tap(imu_tap_cb_t cb);
```

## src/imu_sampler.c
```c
#include <zephyr/kernel.h>
#include <zephyr/logging/log.h>
#include <stdint.h>

#include "imu.h"
#include "imu_sampler.h"
#include "sd_writer.h"

LOG_MODULE_REGISTER(imu_sampler, LOG_LEVEL_INF);

#define PRODUCER_STACK_SZ  2048
#define PRODUCER_PRIO      K_PRIO_PREEMPT(6)

static K_THREAD_STACK_DEFINE(prod_stack, PRODUCER_STACK_SZ);
static struct k_thread     prod_thread;

static atomic_t            prod_running   = ATOMIC_INIT(0);
static atomic_t            prod_stop_req  = ATOMIC_INIT(0);
static volatile uint32_t   pushed;
static volatile uint32_t   read_errors;

static void producer_thread_fn(void *p1, void *p2, void *p3)
{
	ARG_UNUSED(p1); ARG_UNUSED(p2); ARG_UNUSED(p3);

	const int64_t period_us = 1000000 / IMU_SAMPLER_RATE_HZ;  /* 19230 */
	int64_t next_us = k_ticks_to_us_floor64(k_uptime_ticks());

	LOG_INF("imu producer: streaming @ %d Hz", IMU_SAMPLER_RATE_HZ);

	while (!atomic_get(&prod_stop_req)) {
		int16_t a[3], g[3];
		int ret = imu_read_xlg(a, g);
		if (ret == 0) {
			struct sd_writer_imu_sample s = {
				.t_us = k_ticks_to_us_floor64(k_uptime_ticks()),
				.ax = a[0], .ay = a[1], .az = a[2],
				.gx = g[0], .gy = g[1], .gz = g[2],
			};
			sd_writer_push_imu(&s);   /* drop-newest if full */
			pushed++;
		} else {
			read_errors++;
		}

		next_us += period_us;
		int64_t now_us = k_ticks_to_us_floor64(k_uptime_ticks());
		int64_t delay  = next_us - now_us;
		if (delay > 0 && delay < 100000) {
			k_usleep(delay);
		} else if (delay <= 0) {
			next_us = now_us;
		}
	}

	LOG_INF("imu producer: stopped, pushed=%u read_errors=%u",
		pushed, read_errors);
	atomic_clear(&prod_running);
}

int imu_producer_start(void)
{
	if (atomic_get(&prod_running)) return -EALREADY;
	pushed       = 0;
	read_errors  = 0;
	atomic_clear(&prod_stop_req);
	atomic_set(&prod_running, 1);

	k_tid_t tid = k_thread_create(&prod_thread, prod_stack,
				      K_THREAD_STACK_SIZEOF(prod_stack),
				      producer_thread_fn, NULL, NULL, NULL,
				      PRODUCER_PRIO, 0, K_NO_WAIT);
	k_thread_name_set(tid, "imu_prod");
	return 0;
}

int imu_producer_stop(void)
{
	if (!atomic_get(&prod_running)) return -ENOENT;
	atomic_set(&prod_stop_req, 1);
	return 0;
}

bool     imu_producer_is_running(void) { return atomic_get(&prod_running) != 0; }
uint32_t imu_producer_pushed(void)     { return pushed; }
uint32_t imu_producer_read_errors(void){ return read_errors; }
```

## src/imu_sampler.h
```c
/*
 * SensaPulse — IMU sampler producer (#25 refactor).
 *
 * Reads LSM6DSL accel + gyro at 52 Hz and pushes raw int16 samples (with
 * timestamp) into sd_writer's IMU FIFO. Does NOT open or write any file.
 * sd_writer formats each sample as a CSV line and writes the imu.csv on
 * its own thread, eliminating the FATFS lock contention that the old
 * fs_write-from-here design caused with the audio writer.
 *
 * Sample rate: 52 Hz hardware (see imu.c CTRL2_G config).
 */
#pragma once

#include <stdint.h>
#include <stdbool.h>

#define IMU_SAMPLER_RATE_HZ  52

int      imu_producer_start(void);
int      imu_producer_stop(void);
bool     imu_producer_is_running(void);

/* Counters maintained by the producer for diagnostics. The actually-
 * written-to-disk count lives in sd_writer (since the producer only pushes
 * to a queue, the write may happen later or be dropped under backpressure).
 */
uint32_t imu_producer_pushed(void);
uint32_t imu_producer_read_errors(void);
```
